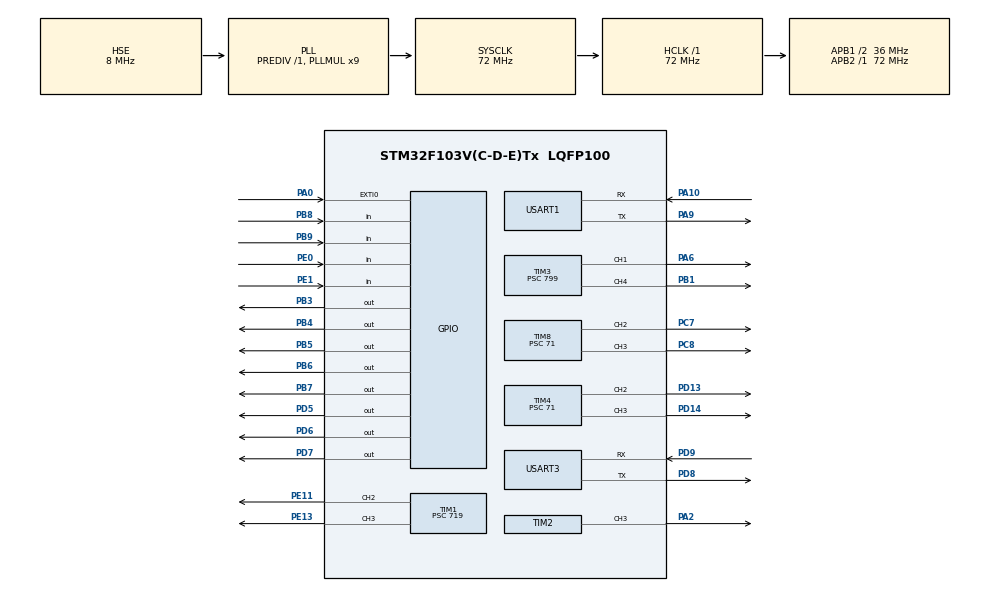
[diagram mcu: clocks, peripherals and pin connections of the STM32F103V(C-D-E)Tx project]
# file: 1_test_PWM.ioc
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Mcu.Family=STM32F1
Mcu.Name=STM32F103V(C-D-E)Tx
Mcu.Package=LQFP100
NVIC.EXTI0_IRQn=true\:1\:2\:true\:false\:true\:true\:true
NVIC.PriorityGroup=NVIC_PRIORITYGROUP_2
NVIC.USART1_IRQn=true\:0\:0\:false\:false\:true\:true\:true
NVIC.USART3_IRQn=true\:0\:0\:false\:false\:true\:true\:true
OSC_IN.Mode=HSE-External-Oscillator
OSC_IN.Signal=RCC_OSC_IN
OSC_OUT.Mode=HSE-External-Oscillator
OSC_OUT.Signal=RCC_OSC_OUT
PA0-WKUP.GPIO_ModeDefaultEXTI=GPIO_MODE_IT_FALLING
PA0-WKUP.Signal=GPXTI0
PA10.Mode=Asynchronous
PA10.Signal=USART1_RX
PA13.Mode=Serial_Wire
PA13.Signal=SYS_JTMS-SWDIO
PA14.Mode=Serial_Wire
PA14.Signal=SYS_JTCK-SWCLK
PA2.Signal=S_TIM2_CH3
PA6.Signal=S_TIM3_CH1
PA9.Mode=Asynchronous
PA9.Signal=USART1_TX
PB1.Signal=S_TIM3_CH4
PB3.Signal=GPIO_Output
PB4.Signal=GPIO_Output
PB5.Signal=GPIO_Output
PB6.Signal=GPIO_Output
PB7.Signal=GPIO_Output
PB8.Signal=GPIO_Input
PB9.Signal=GPIO_Input
PC7.Signal=S_TIM8_CH2
PC8.Signal=S_TIM8_CH3
PD13.Signal=S_TIM4_CH2
PD14.Signal=S_TIM4_CH3
PD5.Signal=GPIO_Output
PD6.Signal=GPIO_Output
PD7.Signal=GPIO_Output
PD8.Mode=Asynchronous
PD8.Signal=USART3_TX
PD9.Mode=Asynchronous
PD9.Signal=USART3_RX
PE0.Signal=GPIO_Input
PE1.Signal=GPIO_Input
PE11.Signal=S_TIM1_CH2
PE13.Signal=S_TIM1_CH3
ProjectManager.HeapSize=0x200
ProjectManager.StackSize=0x400
ProjectManager.TargetToolchain=MDK-ARM V5.27
RCC.AHBFreq_Value=72000000
RCC.APB1CLKDivider=RCC_HCLK_DIV2
RCC.APB1Freq_Value=36000000
RCC.APB1TimFreq_Value=72000000
RCC.APB2Freq_Value=72000000
RCC.APB2TimFreq_Value=72000000
RCC.HCLKFreq_Value=72000000
RCC.PLLMUL=RCC_PLL_MUL9
RCC.PLLSourceVirtual=RCC_PLLSOURCE_HSE
RCC.SYSCLKFreq_VALUE=72000000
RCC.SYSCLKSource=RCC_SYSCLKSOURCE_PLLCLK
RCC.USBFreq_Value=72000000
SH.S_TIM1_CH2.0=TIM1_CH2,PWM Generation2 CH2
SH.S_TIM1_CH3.0=TIM1_CH3,PWM Generation3 CH3
SH.S_TIM2_CH3.0=TIM2_CH3,PWM Generation3 CH3
SH.S_TIM3_CH1.0=TIM3_CH1,PWM Generation1 CH1
SH.S_TIM3_CH4.0=TIM3_CH4,PWM Generation4 CH4
SH.S_TIM4_CH2.0=TIM4_CH2,PWM Generation2 CH2
SH.S_TIM4_CH3.0=TIM4_CH3,PWM Generation3 CH3
SH.S_TIM8_CH2.0=TIM8_CH2,PWM Generation2 CH2
SH.S_TIM8_CH3.0=TIM8_CH3,PWM Generation3 CH3
TIM1.AutoReloadPreload=TIM_AUTORELOAD_PRELOAD_ENABLE
TIM1.Channel-PWM\ Generation2\ CH2=TIM_CHANNEL_2
TIM1.Channel-PWM\ Generation3\ CH3=TIM_CHANNEL_3
TIM1.Period=1999
TIM1.Prescaler=719
TIM2.AutoReloadPreload=TIM_AUTORELOAD_PRELOAD_ENABLE
TIM2.Channel-PWM\ Generation3\ CH3=TIM_CHANNEL_3
TIM2.Period=1999
TIM2.Prescaler=799
TIM3.AutoReloadPreload=TIM_AUTORELOAD_PRELOAD_ENABLE
TIM3.Channel-PWM\ Generation1\ CH1=TIM_CHANNEL_1
TIM3.Channel-PWM\ Generation4\ CH4=TIM_CHANNEL_4
TIM3.Period=1999
TIM3.Prescaler=799
TIM4.AutoReloadPreload=TIM_AUTORELOAD_PRELOAD_ENABLE
TIM4.Channel-PWM\ Generation2\ CH2=TIM_CHANNEL_2
TIM4.Channel-PWM\ Generation3\ CH3=TIM_CHANNEL_3
TIM4.Period=9999
TIM4.Prescaler=71
TIM8.AutoReloadPreload=TIM_AUTORELOAD_PRELOAD_ENABLE
TIM8.Channel-PWM\ Generation2\ CH2=TIM_CHANNEL_2
TIM8.Channel-PWM\ Generation3\ CH3=TIM_CHANNEL_3
TIM8.Period=9999
TIM8.Prescaler=71
USART1.VirtualMode=VM_ASYNC
USART3.VirtualMode=VM_ASYNC
board=custom

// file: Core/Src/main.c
/* USER CODE BEGIN Header */
/**
  ******************************************************************************
  * @file           : main.c
  * @brief          : Main program body
  ******************************************************************************
  * @attention
  *
  * <h2><center>&copy; Copyright (c) 2023 STMicroelectronics.
  * All rights reserved.</center></h2>
  *
  * This software component is licensed by ST under BSD 3-Clause license,
  * the "License"; You may not use this file except in compliance with the
  * License. You may obtain a copy of the License at:
  *                        opensource.org/licenses/BSD-3-Clause
  *
  ******************************************************************************
  */
/* USER CODE END Header */
#include "main.h"
#include "tim.h"
#include "usart.h"
#include "gpio.h"

/* USER CODE BEGIN Includes */
#include "dianji.h"
#include "duoji.h"
#include "intterupt.h"
#include "stdio.h"
#include "string.h"
#include "stdlib.h"
#include "lineread.h"

/* USER CODE END Includes */

/* USER CODE BEGIN PTD */
extern unsigned pointer;
extern char rxdata[30];
extern uint8_t data;
void rx_proc(void);
void print(int n);
int axie[5];
the t;
int flag = 0; //标识符
int distance = 0;
int uart3_flag=0;
int egg_dif=0;
/* USER CODE END PTD */

void SystemClock_Config(void);

int main(void)
{
  /* USER CODE BEGIN 1 */
	char temp[30];
	int i1=01;int i2=1;int i3=1;int i4=1;int i5=1;
  /* USER CODE END 1 */

  /* MCU Configuration--------------------------------------------------------*/

  /* Reset of all peripherals, Initializes the Flash interface and the Systick. */
  HAL_Init();

  /* Configure the system clock */
  SystemClock_Config();

  /* Initialize all configured peripherals */
  MX_GPIO_Init();
  MX_USART1_UART_Init();
  MX_TIM3_Init();
  MX_TIM1_Init();
  MX_TIM2_Init();
  MX_TIM4_Init();
  MX_TIM8_Init();
  MX_USART3_UART_Init();

  /* Infinite loop */
  /* USER CODE BEGIN WHILE */
	//资源初始化
	HAL_TIM_PWM_Start(&htim1,TIM_CHANNEL_2);
	HAL_TIM_PWM_Start(&htim1,TIM_CHANNEL_3);
	HAL_TIM_PWM_Start(&htim3,TIM_CHANNEL_4);
	HAL_TIM_PWM_Start(&htim2,TIM_CHANNEL_3);
	HAL_TIM_PWM_Start(&htim3,TIM_CHANNEL_1);
	HAL_TIM_PWM_Start(&htim8,TIM_CHANNEL_2); //电机PWM初始化 ABCD
	HAL_TIM_PWM_Start(&htim8,TIM_CHANNEL_3);
	HAL_TIM_PWM_Start(&htim4,TIM_CHANNEL_2);
	HAL_TIM_PWM_Start(&htim4,TIM_CHANNEL_3);
	HAL_UART_Receive_IT(&huart1,&data,1);
	HAL_UART_Receive_IT(&huart3,&data,1);
	HAL_Delay(1);

	printf("UART1_Init SECCUSS!\n");
	printf("UART3_Init SECCUSS!\n");
	sprintf(temp,"arm init all right\n");
	HAL_UART_Transmit(&huart1,(uint8_t *)temp,strlen(temp),50);
	//角度初始化
	axie[0]=135;axie[1]=90;axie[2]=0;axie[3]=90;axie[4]=90;
	printf("angle_int:135:090:000:090:090\n");
	arm_init();
	t.x = 236.26;t.y = 0;t.z = 106.76;
	t.n_x = 236.26;t.n_y = 0;t.n_z = 106.76; //机械臂末端初始位置
	t.n1 = t.n2 =t.n3 =t.n4 = 0;  //机械臂所有轴初始角度
//	while(1)
//	{

//	}
  while (1)
  {
    /* USER CODE END WHILE */

    /* USER CODE BEGIN 3 */

		switch(flag)
		{
			//基本初始化位
			case 0: {
			printf("flag=1\n");
			HAL_Delay(1000);
			};break;

			//flag = 1  发送给树莓派开启YOLO 机械臂处于检测状态
			case 1:{
			axie[0]=135;axie[1]=90;axie[2]=0;axie[3]=90;axie[4]=90;
			arm_control(axie[0],axie[1],axie[2],axie[3],axie[4]);
			printf("flag=1\n");
			HAL_Delay(1000);
			};break;

			//flag = 2  小车进入循迹模式(flag=2从树莓派接收)
			case 2:{
			wait_mode();
			duoji_pwmstop(); //停止舵机pwm输出 暂时防止抖动
			_run(3000); //循迹函数
			while(i1){printf("Trace mode\n");i1-=1;}
			};break;

			//flag = 4  接收差值数据 并转为寻中线模式 (flag=4从树莓派接收)
			case 4:{
			Stop();
			find_mid_mode(egg_dif);
			while(i2){printf("Centering mode mode\n");i2-=1;}
			duoji_pwmstart();//开启舵机pwm输出 暂时防止抖动
			};break;

			//flag = 5  接收Z轴差值数据 停止寻中线模式 控制机械臂z轴运动(flag=5从树莓派接收)
			case 5:{
			move_z(egg_dif,1);
			HAL_Delay(10);
			egg_dif = 0;
			while(i3){printf("Z-axis mode\n");i3-=1;}
			};break;

			//flag = 6  启动激光测距 控制机械臂x轴方向运动 并判断距离(flag=6从树莓派接收)
			//当距离< ? 时，停止机械臂运动，实行检测运动。并完成剪切动作  使flag= 8
			case 6:{
			if(uart3_flag==0){uart3_flag = 1;HAL_UART_Receive_IT(&huart3,&data,1);	}
			while(i4){printf("Laser mode\n");i4-=1;}
			HAL_Delay(20);
			move_x_mode();
			print(8); //**********

			};break;

			//flag = 8  将机械臂完成抬高处理，旋转机械臂到篮前后，旋转第四轴使茄子倾斜。
			//实行张开爪钳动作  返回抬高处理  使flag = 1 重复循环
			case 8:{
			while(i5){printf("Grab A Place mode\n");i5-=1;}
			uart3_flag = 0;
			HAL_Delay(20);
			distance = 0;
			glab_place_mode();
			print(1);

			};break;
			//预留口，暂时用于恢复初始化
			case 9:{
			axie[0]=135;axie[1]=90;axie[2]=0;axie[3]=90;axie[4]=90;
			arm_init();
			};break;
		}

		rx_proc();
  }
  /* USER CODE END 3 */
}

void SystemClock_Config(void)
{
  RCC_OscInitTypeDef RCC_OscInitStruct = {0};
  RCC_ClkInitTypeDef RCC_ClkInitStruct = {0};

  /** Initializes the RCC Oscillators according to the specified parameters
  * in the RCC_OscInitTypeDef structure.
  */
  RCC_OscInitStruct.OscillatorType = RCC_OSCILLATORTYPE_HSE;
  RCC_OscInitStruct.HSEState = RCC_HSE_ON;
  RCC_OscInitStruct.HSEPredivValue = RCC_HSE_PREDIV_DIV1;
  RCC_OscInitStruct.HSIState = RCC_HSI_ON;
  RCC_OscInitStruct.PLL.PLLState = RCC_PLL_ON;
  RCC_OscInitStruct.PLL.PLLSource = RCC_PLLSOURCE_HSE;
  RCC_OscInitStruct.PLL.PLLMUL = RCC_PLL_MUL9;
  if (HAL_RCC_OscConfig(&RCC_OscInitStruct) != HAL_OK)
  {
    Error_Handler();
  }
  /** Initializes the CPU, AHB and APB buses clocks
  */
  RCC_ClkInitStruct.ClockType = RCC_CLOCKTYPE_HCLK|RCC_CLOCKTYPE_SYSCLK
                              |RCC_CLOCKTYPE_PCLK1|RCC_CLOCKTYPE_PCLK2;
  RCC_ClkInitStruct.SYSCLKSource = RCC_SYSCLKSOURCE_PLLCLK;
  RCC_ClkInitStruct.AHBCLKDivider = RCC_SYSCLK_DIV1;
  RCC_ClkInitStruct.APB1CLKDivider = RCC_HCLK_DIV2;
  RCC_ClkInitStruct.APB2CLKDivider = RCC_HCLK_DIV1;

  if (HAL_RCC_ClockConfig(&RCC_ClkInitStruct, FLASH_LATENCY_2) != HAL_OK)
  {
    Error_Handler();
  }
}

/* USER CODE BEGIN 4 */

struct{
char axis1[10];
	char axis2[10];
	char axis3[10];
	char axis4[10];
	char axis5[10];
	char px[10];
	char py[10];
	char pz[10];
	char data[3];	//移动参数
	int da;
	char wh[2];   //方向参数
	char fl[1];  //flag字符参数
	char dis[200];
	char e_d[20];
}rx_axis;
//将接收到的字符转为16进制数 （激光测距）
void str_hex(char str[])
{
	int x;
    for(x = 0; x < 7; x++) {
        sprintf(rx_axis.dis + x*2, "%02X", str[x]);
    }
}
void rx_proc(void)
{
		if(pointer!=0)
		{
			int temp=pointer;
			HAL_Delay(1);
			if(temp==pointer)
			{
	char temp[30];
	extern int axie[];
	if(pointer>0)
	{
		if(pointer==19) //0,0,0,0,0  180,180,180,180,180
		{

			sscanf(rxdata,"%3s:%3s:%3s:%3s:%3s",rx_axis.axis1,rx_axis.axis2,rx_axis.axis3,rx_axis.axis4,rx_axis.axis5);
			sprintf(temp,"all right\r\n");
			HAL_UART_Transmit(&huart1,(uint8_t *)temp,strlen(temp),50);
			HAL_UART_Transmit(&huart1,(uint8_t *)rxdata,strlen(rxdata),50);
			axie[0] = atoi(rx_axis.axis1);axie[1] = atoi(rx_axis.axis2);axie[2] = atoi(rx_axis.axis3);axie[3] = atoi(rx_axis.axis4);axie[4] = atoi(rx_axis.axis5);
			arm_control(axie[0],axie[1],axie[2],axie[3],axie[4]);
		}
//		pointer = 0;memset(rxdata,0,30);
//		else if(pointer == 11) //输入坐标数据，机械臂运动到相应坐标
//		{
//			sscanf(rxdata,"%3s:%3s:%3s",rx_axis.px,rx_axis.py,rx_axis.pz);
//			sprintf(temp,"px py pz all right\r\n");
//			HAL_UART_Transmit(&huart1,(uint8_t *)temp,strlen(temp),50);
//			HAL_UART_Transmit(&huart1,(uint8_t *)rxdata,strlen(rxdata),50);
//			t.x = atof(rx_axis.px);t.y = atof(rx_axis.py);t.z = atof(rx_axis.pz);
//			pro_ni();
//			//pro_jd();
//			//axie[0]=t.theta1; theta1不发生改变
//			axie[1]=t.theta2;axie[2]=t.theta3;axie[3]=t.theta4;
//			arm_control(axie[0],axie[1],axie[2],axie[3],axie[4]);
//			sprintf(temp,"px py pz start finshed\r\n");
//			HAL_UART_Transmit(&huart1,(uint8_t *)temp,strlen(temp),50);
//		}
		else if(pointer == 5) //输入距离，末端平移
		{
			sscanf(rxdata,"%1s:%3s",rx_axis.wh,rx_axis.data);
			sprintf(temp,"wh = %1s  data = %3s\n",rx_axis.wh,rx_axis.data);
			HAL_UART_Transmit(&huart1,(uint8_t *)temp,strlen(temp),50);
			rx_axis.da = atof(rx_axis.data);
			switch (rx_axis.wh[0]){
				case 'x':
				move_x(rx_axis.da,1);
				sprintf(temp,"x:%d\n",rx_axis.da);
				HAL_UART_Transmit(&huart1,(uint8_t *)temp,strlen(temp),50);
				break;
				case 'y':
				move_y(rx_axis.da,1);
				sprintf(temp,"y:%d\n",rx_axis.da);
				HAL_UART_Transmit(&huart1,(uint8_t *)temp,strlen(temp),50);
				break;
				case 'z':
				move_z(rx_axis.da,1);
				sprintf(temp,"z:%d\n",rx_axis.da);
				HAL_UART_Transmit(&huart1,(uint8_t *)temp,strlen(temp),50);
				break;
				case 'a':
				move_axie0(rx_axis.da,1);
				sprintf(temp,"a:%d\n",rx_axis.da);
				HAL_UART_Transmit(&huart1,(uint8_t *)temp,strlen(temp),50);
				break;
				case 'd':
				move_axie0(rx_axis.da,1);
				sprintf(temp,"d:%d\n",rx_axis.da);
				HAL_UART_Transmit(&huart1,(uint8_t *)temp,strlen(temp),50);
				break;

			}
			sprintf(temp,"now_co %.0f:%.0f:%.0f\n",t.n_x,t.n_y,t.n_z);
			HAL_UART_Transmit(&huart1,(uint8_t *)temp,strlen(temp),50);
			memset(rx_axis.wh,0,2);memset(rx_axis.data,0,3);rx_axis.da=0;
		}
		else if(pointer == 6)
		{
			sscanf(rxdata,"flag=%1s",rx_axis.fl);
			flag = atoi(rx_axis.fl);
			//printf("flag=%d",flag);
		}
		else if(pointer == 7)
		{
			char d[4];
			int x;
			str_hex(rxdata); //字符转16进制
			//printf("%14s\n",rx_axis.dis);
			for(x=7;x<=10;x++)
			{
				d[x-7]=rx_axis.dis[x-1];
			} //截取距离部分的16进制数
			distance = strtol(d,NULL,16); //将16进制转为10进制，转换为10进制的距离
			printf("distance = %d mm\n",distance);
		}
		//egg_dif=99 读取树莓派发送的中间差值，保存到egg_dif中
		else if(pointer == 10)
		{
			sscanf(rxdata,"egg_dif=%2s",rx_axis.e_d);
			egg_dif = atoi(rx_axis.e_d);
			//printf("egg_dif = %2d\n",egg_dif);
		}
		else
		{
//			printf("len = %d\n",pointer);
//			sprintf(temp,"Data Error:\r\n");
//			HAL_UART_Transmit(&huart1,(uint8_t *)temp,strlen(temp),50);
//			HAL_UART_Transmit(&huart1,(uint8_t *)rxdata,strlen(rxdata),50);
		}
//		sprintf(temp,"now angle:%d,%d,%d,%d,%d\r\n",axie[0],axie[1],axie[2],axie[3],axie[4]);
//		HAL_UART_Transmit(&huart1,(uint8_t *)temp,strlen(temp),50);
		pointer = 0;memset(rxdata,0,30);
	}
			}

		}
//	char axis1[10],axis2[10],axis3[10],axis4[10],axis5[10];
//	char px[10],py[10],pz[10];
//	float Px,Py,Pz;
}
//发送并置flag位
void print(int n)
{
	printf("flag=%d",n);
	flag = n;
}
/* USER CODE END 4 */

void Error_Handler(void)
{
  __disable_irq();
  while (1)
  {
  }
}

/************************ (C) COPYRIGHT STMicroelectronics *****END OF FILE****/
